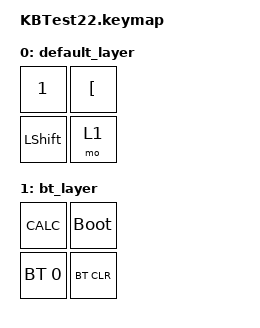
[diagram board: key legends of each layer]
#include <behaviors.dtsi>
#include <dt-bindings/zmk/keys.h>
#include <dt-bindings/zmk/bt.h>

/ {
    keymap {
        compatible = "zmk,keymap";

        default_layer {
            bindings = <
                &kp N1      &kp LBKT
                &kp LSHIFT  &mo 1
            >;
        };

        bt_layer {
            bindings = <
                &kp K_CALC   &bootloader
                &bt BT_SEL 0   &bt BT_CLR
            >;
        };
    };
};
